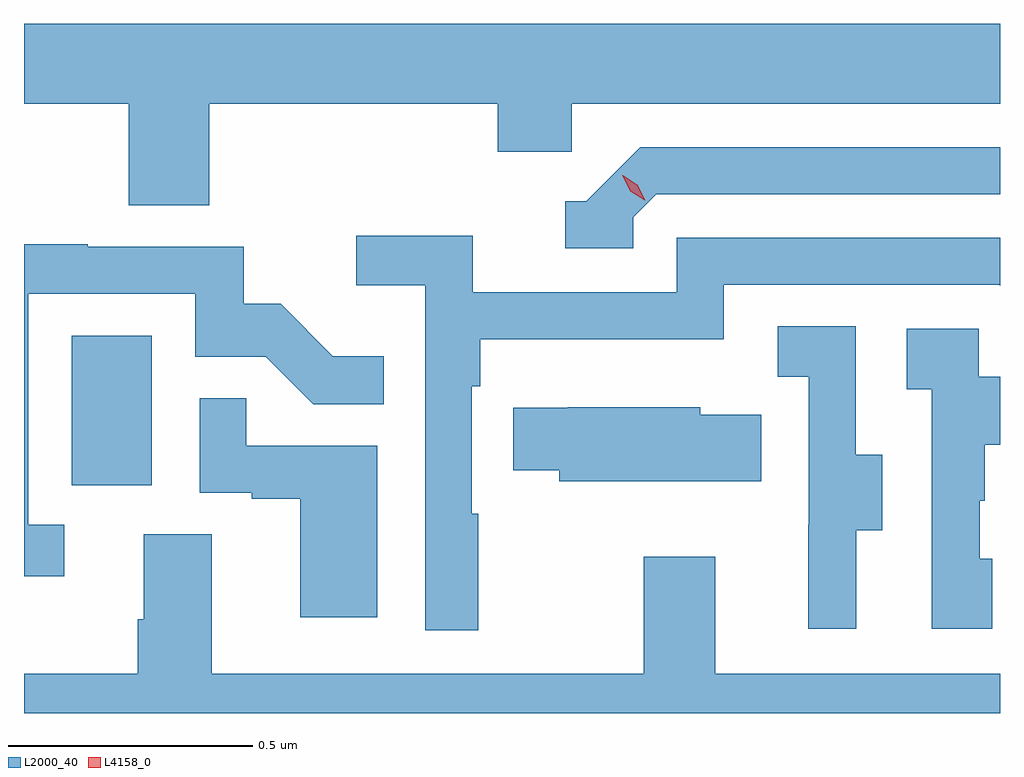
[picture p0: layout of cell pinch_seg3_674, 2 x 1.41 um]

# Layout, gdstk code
import gdstk
lib = gdstk.Library(unit=1e-6, precision=1e-09)
def R(c, l, rs):  # rectangles x0, y0, x1, y1
    for r in rs: c.add(gdstk.rectangle(r[:2], r[2:], *l))
def P(c, l, *ps):  # polygons
    for p in ps: c.add(gdstk.Polygon(p, *l))
L2000_40 = (2000, 40)
L4158_0 = (4158, 0)

pinch_seg3_674 = lib.new_cell('pinch_seg3_674')
R(pinch_seg3_674, L2000_40, [(1077.296,681.486,1077.46,681.793)])
P(pinch_seg3_674, L2000_40, [(1077.578,682.268),(1078.169,682.268),(1078.169,682.17),(1078.32,682.17),(1078.32,682.268),(1079.198,682.268),(1079.198,682.432),(1077.198,682.432),(1077.198,682.268),(1077.413,682.268),(1077.413,682.06),(1077.578,682.06)],
  [(1078.446,682.035),(1078.494,682.083),(1079.198,682.083),(1079.198,682.179),(1078.461,682.179),(1078.35,682.068),(1078.307,682.068),(1078.307,681.972),(1078.446,681.972)],
  [(1078.129,681.428),(1078.116,681.428),(1078.116,681.689),(1078.133,681.689),(1078.133,681.785),(1078.632,681.785),(1078.632,681.897),(1079.196,681.897),(1079.198,681.895),(1079.198,681.993),(1078.536,681.993),(1078.536,681.882),(1078.118,681.882),(1078.118,681.998),(1077.879,681.998),(1077.879,681.896),(1078.02,681.896),(1078.02,681.189),(1078.129,681.189)],
  [(1077.28,681.405),(1077.207,681.405),(1077.207,681.879),(1077.549,681.879),(1077.549,681.75),(1077.693,681.75),(1077.791,681.652),(1077.935,681.652),(1077.935,681.751),(1077.831,681.751),(1077.724,681.858),(1077.648,681.858),(1077.648,681.975),(1077.329,681.975),(1077.329,681.98),(1077.198,681.98),(1077.198,681.3),(1077.28,681.3)],
  [(1078.903,681.394),(1078.957,681.394),(1078.957,681.549),(1078.902,681.549),(1078.902,681.812),(1078.743,681.812),(1078.743,681.709),(1078.806,681.709),(1078.806,681.405),(1078.805,681.405),(1078.805,681.192),(1078.903,681.192)],
  [(1079.182,681.336),(1079.157,681.336),(1079.157,681.455),(1079.167,681.455),(1079.167,681.569),(1079.198,681.569),(1079.198,681.709),(1079.154,681.709),(1079.154,681.807),(1079.007,681.807),(1079.007,681.683),(1079.058,681.683),(1079.058,681.192),(1079.182,681.192)],
  [(1077.922,681.567),(1077.653,681.567),(1077.653,681.665),(1077.558,681.665),(1077.558,681.471),(1077.665,681.471),(1077.665,681.459),(1077.764,681.459),(1077.764,681.216),(1077.922,681.216)],
  [(1078.709,681.631),(1078.584,681.631),(1078.584,681.646),(1078.312,681.646),(1078.312,681.645),(1078.201,681.645),(1078.201,681.517),(1078.295,681.517),(1078.295,681.494),(1078.709,681.494)],
  [(1079.198,681.1),(1078.615,681.1),(1078.615,681.34),(1078.468,681.34),(1078.468,681.1),(1077.583,681.1),(1077.583,681.386),(1077.443,681.386),(1077.443,681.212),(1077.431,681.212),(1077.431,681.1),(1077.198,681.1),(1077.198,681.019),(1079.198,681.019)])
P(pinch_seg3_674, L4158_0, [(1078.47,682.07),(1078.44,682.089),(1078.424,682.122),(1078.424,682.122),(1078.425,682.122),(1078.455,682.102),(1078.471,682.07),(1078.471,682.07)])

lib.write_gds('pinch_seg3_674.gds')
